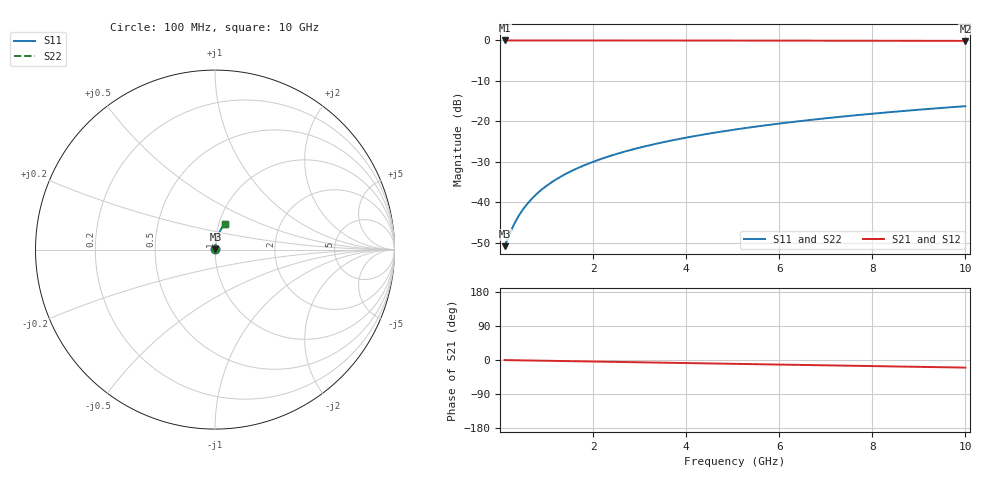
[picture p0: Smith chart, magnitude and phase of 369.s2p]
# Hz S RI R 50.00
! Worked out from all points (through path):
!   100 points, 100 MHz to 10 GHz, reference 50 ohm
!   highest |S21| = -0.02 dB at 100 MHz (marker M1); lowest = -0.1 dB at 10 GHz (marker M2)
!   group delay of S21, straight-line fit = 5.57 ps
!   lowest |S11| = -50.8 dB at 100 MHz (marker M3), VSWR 1.01, Z = 50.2 + j0.158 ohm
!   |S11| at or under -10 dB: start of sweep to end of sweep
!   |S22| runs from -50.8 to -16.3 dB; largest |S21 - S12| = 0
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1e8  0.0024 0.00157  0.9976 -0.0035  0.9976 -0.0035  0.0024 0.00157
2e8  0.00243 0.00314  0.9976 -0.00701  0.9976 -0.00701  0.00243 0.00314
3e8  0.00247 0.0047  0.9975 -0.0105  0.9975 -0.0105  0.00247 0.0047
4e8  0.00252 0.00627  0.9974 -0.014  0.9974 -0.014  0.00252 0.00627
5e8  0.00258 0.00784  0.9974 -0.0175  0.9974 -0.0175  0.00258 0.00784
6e8  0.00264 0.0094  0.9973 -0.021  0.9973 -0.021  0.00264 0.0094
7e8  0.00272 0.011  0.9972 -0.0245  0.9972 -0.0245  0.00272 0.011
9e8  0.00291 0.0141  0.9969 -0.0315  0.9969 -0.0315  0.00291 0.0141
1e9  0.00302 0.0157  0.9968 -0.035  0.9968 -0.035  0.00302 0.0157
1.2e9  0.00327 0.0188  0.9964 -0.042  0.9964 -0.042  0.00327 0.0188
1.5e9  0.00372 0.0235  0.9958 -0.0525  0.9958 -0.0525  0.00372 0.0235
1.8e9  0.00428 0.0281  0.9951 -0.063  0.9951 -0.063  0.00428 0.0281
2.1e9  0.00493 0.0328  0.9942 -0.0735  0.9942 -0.0735  0.00493 0.0328
2.5e9  0.00595 0.039  0.9928 -0.0874  0.9928 -0.0874  0.00595 0.039
2.9e9  0.00714 0.0451  0.9912 -0.1013  0.9912 -0.1013  0.00714 0.0451
3.4e9  0.00887 0.0528  0.9889 -0.1186  0.9889 -0.1186  0.00887 0.0528
4.2e9  0.0122 0.0648  0.9844 -0.1462  0.9844 -0.1462  0.0122 0.0648
5.1e9  0.0167 0.0781  0.9783 -0.177  0.9783 -0.177  0.0167 0.0781
5.9e9  0.0214 0.0897  0.9719 -0.2041  0.9719 -0.2041  0.0214 0.0897
6.7e9  0.0268 0.101  0.9646 -0.2309  0.9646 -0.2309  0.0268 0.101
8.4e9  0.0402 0.1238  0.9463 -0.2869  0.9463 -0.2869  0.0402 0.1238
1e10  0.0551 0.1436  0.9256 -0.3379  0.9256 -0.3379  0.0551 0.1436
